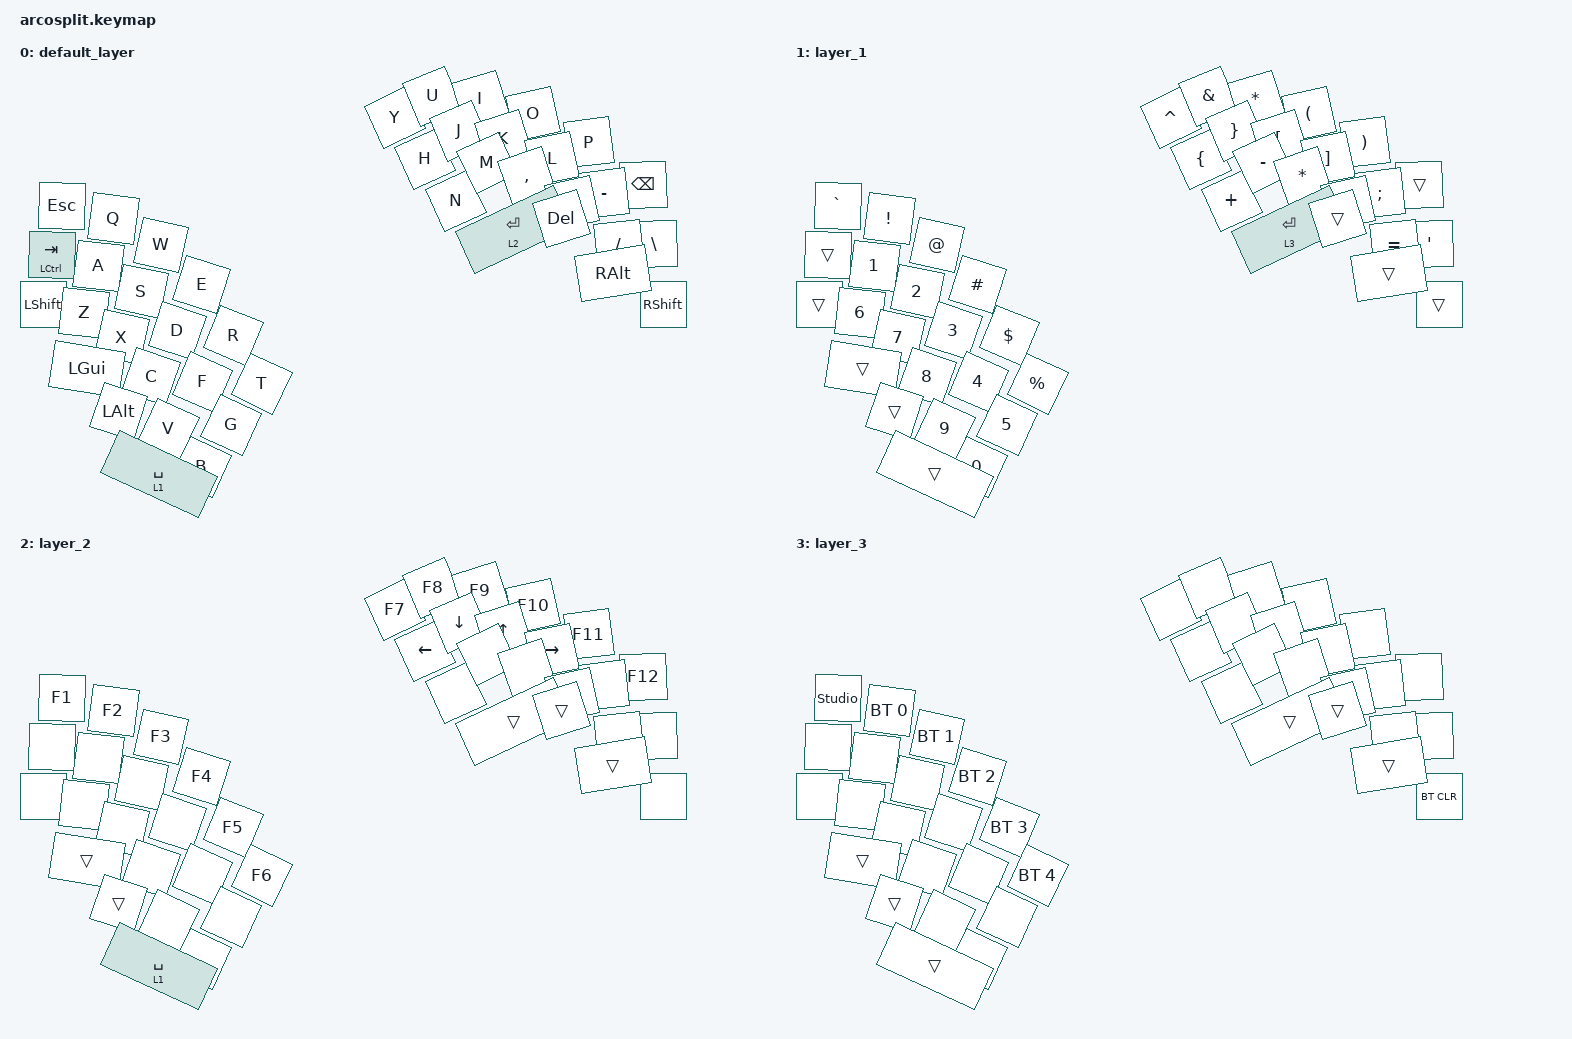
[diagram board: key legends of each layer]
/*
 * Copyright (c) 2021 The ZMK Contributors
 *
 * SPDX-License-Identifier: MIT
 */

#include <dt-bindings/zmk/behaviors.h>
#include <dt-bindings/zmk/bt.h>
#include <dt-bindings/zmk/keys.h>

#define L1 1
#define L2 2
#define L3 3

/ {
    behaviors {
        blt: balanced_layer_tap {
            compatible = "zmk,behavior-hold-tap";
            #binding-cells = <2>;
            flavor = "balanced";
            tapping-term-ms = <125>;
            bindings = <&kp>, <&kp>;
            display-name = "Balanced-Layer-Tap";
        };
    };
    keymap {
        compatible = "zmk,keymap";

        default_layer {
            bindings = <
&kp ESC        &kp Q  &kp W  &kp E     &kp R     &kp T         &kp Y         &kp U    &kp I      &kp O    &kp P      &kp BSPC
&mt LCTRL TAB  &kp A  &kp S  &kp D     &kp F     &kp G         &kp H         &kp J    &kp K      &kp L    &kp MINUS  &kp BACKSLASH
&kp LSHFT      &kp Z  &kp X  &kp C     &kp V     &kp B         &kp N         &kp M    &kp COMMA  &kp DOT  &kp SLASH  &kp RSHFT
                             &kp LGUI  &kp LALT  &blt L1 SPACE  &blt L2 ENTER  &kp DEL  &kp RALT
            >;
        };

        layer_1 {
            bindings = <
&kp GRAVE  &kp EXCL  &kp AT  &kp HASH  &kp DLLR  &kp PRCNT  &kp CARET       &kp AMPS         &kp STAR          &kp LPAR           &kp RPAR   &trans
&trans     &kp N1    &kp N2  &kp N3    &kp N4    &kp N5     &kp LEFT_BRACE  &kp RIGHT_BRACE  &kp LEFT_BRACKET  &kp RIGHT_BRACKET  &kp SEMI   &kp SINGLE_QUOTE
&trans     &kp N6    &kp N7  &kp N8    &kp N9    &kp N0     &kp PLUS        &kp MINUS        &kp ASTERISK      &kp SLASH          &kp EQUAL  &trans
                             &trans    &trans    &trans     &blt L3 ENTER    &trans           &trans
            >;
        };

        layer_2 {
            bindings = <
&kp F1  &kp F2  &kp F3  &kp F4  &kp F5  &kp F6        &kp F7    &kp F8    &kp F9  &kp F10    &kp F11  &kp F12
&none   &none   &none   &none   &none   &none         &kp LEFT  &kp DOWN  &kp UP  &kp RIGHT  &none    &none
&none   &none   &none   &none   &none   &none         &none     &none     &none   &none      &none    &none
                        &trans  &trans  &blt L1 SPACE  &trans    &trans    &trans
            >;
        };

        layer_3 {
            bindings = <
&studio_unlock  &bt BT_SEL 0  &bt BT_SEL 1  &bt BT_SEL 2  &bt BT_SEL 3  &bt BT_SEL 4  &none   &none   &none   &none  &none  &none
&none           &none         &none         &none         &none         &none         &none   &none   &none   &none  &none  &none
&none           &none         &none         &none         &none         &none         &none   &none   &none   &none  &none  &bt BT_CLR
                                            &trans        &trans        &trans        &trans  &trans  &trans
            >;
        };
    };
};
